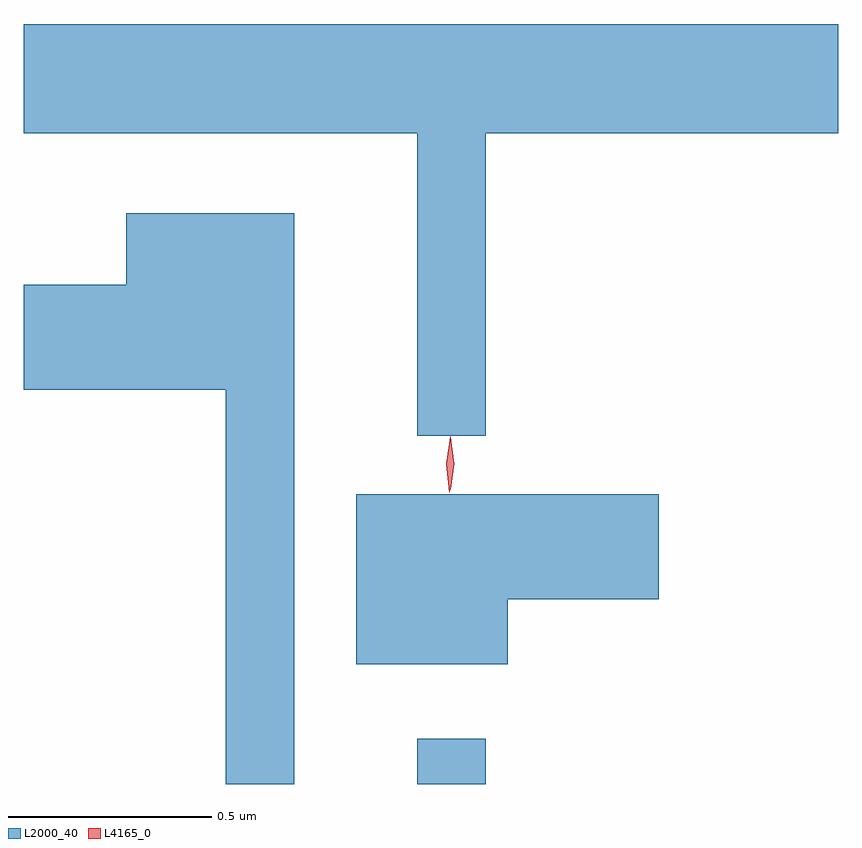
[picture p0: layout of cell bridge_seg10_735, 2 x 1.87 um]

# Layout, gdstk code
import gdstk
lib = gdstk.Library(unit=1e-6, precision=1e-09)
def R(c, l, rs):  # rectangles x0, y0, x1, y1
    for r in rs: c.add(gdstk.rectangle(r[:2], r[2:], *l))
def P(c, l, *ps):  # polygons
    for p in ps: c.add(gdstk.Polygon(p, *l))
L2000_40 = (2000, 40)
L4165_0 = (4165, 0)

bridge_seg10_735 = lib.new_cell('bridge_seg10_735')
R(bridge_seg10_735, L2000_40, [(1005.591,2143.397,1005.759,2143.508)])
P(bridge_seg10_735, L2000_40, [(1005.759,2144.996),(1006.625,2144.996),(1006.625,2145.264),(1004.625,2145.264),(1004.625,2144.996),(1005.591,2144.996),(1005.591,2144.253),(1005.759,2144.253)],
  [(1005.289,2144.799),(1004.876,2144.799),(1004.876,2144.624),(1004.625,2144.624),(1004.625,2144.366),(1005.121,2144.366),(1005.121,2143.397),(1005.289,2143.397)],
  [(1005.814,2143.851),(1006.184,2143.851),(1006.184,2144.109),(1005.441,2144.109),(1005.441,2143.691),(1005.814,2143.691)])
P(bridge_seg10_735, L4165_0, [(1005.672,2144.12),(1005.672,2144.121),(1005.662,2144.184),(1005.672,2144.246),(1005.672,2144.247),(1005.673,2144.246),(1005.682,2144.184),(1005.673,2144.121)],
  [(1005.67,2144.114),(1005.662,2144.182),(1005.672,2144.25),(1005.672,2144.25),(1005.673,2144.25),(1005.681,2144.182),(1005.671,2144.114),(1005.671,2144.114)])

lib.write_gds('bridge_seg10_735.gds')
